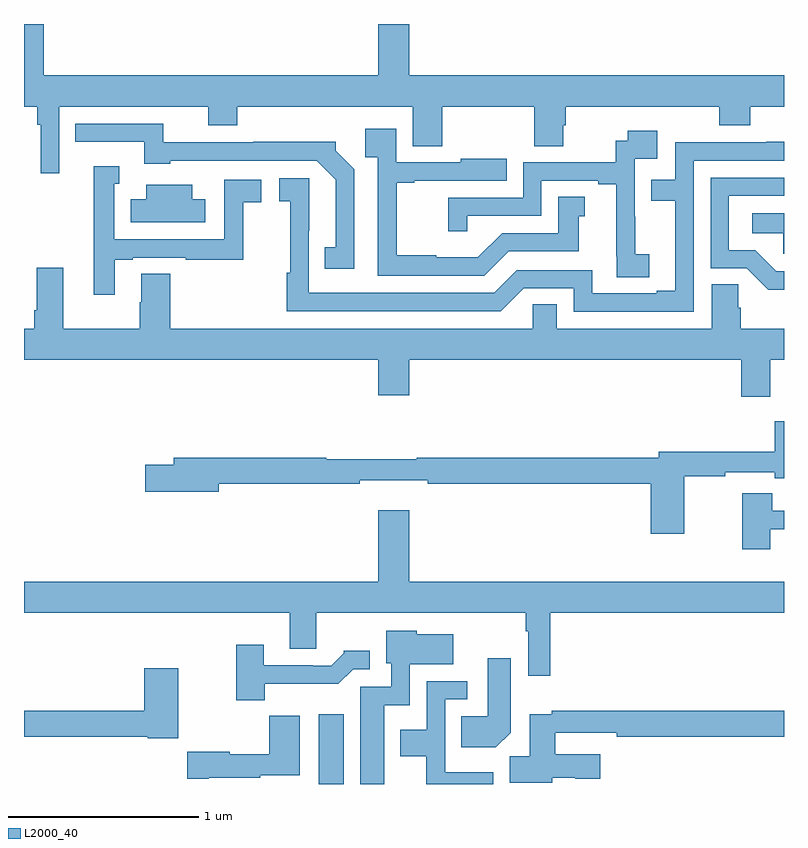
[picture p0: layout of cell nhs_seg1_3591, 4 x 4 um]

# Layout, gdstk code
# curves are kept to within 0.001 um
import gdstk
lib = gdstk.Library(unit=1e-6, precision=1e-09)
def R(c, l, rs):  # rectangles x0, y0, x1, y1
    for r in rs: c.add(gdstk.rectangle(r[:2], r[2:], *l))
def P(c, l, *ps):  # polygons
    for p in ps: c.add(gdstk.Polygon(p, *l))
L2000_40 = (2000, 40)

nhs_seg1_3591 = lib.new_cell('nhs_seg1_3591')
R(nhs_seg1_3591, L2000_40, [(308.552,516.199,308.683,516.565)])
P(nhs_seg1_3591, L2000_40, [(307.185,519.764),(307.97,519.764),(307.97,519.665),(308.123,519.665),(308.123,519.764),(309.047,519.764),(309.047,519.556),(309.2,519.556),(309.2,519.764),(309.686,519.764),(309.686,519.556),(309.838,519.556),(309.838,519.666),(309.851,519.666),(309.851,519.764),(310.658,519.764),(310.658,519.665),(310.823,519.665),(310.823,519.764),(311,519.764),(311,519.928),(309.028,519.928),(309.028,520.199),(308.864,520.199),(308.864,519.928),(307.105,519.928),(307.105,520.199),(307,520.199),(307,519.764),(307.069,519.764),(307.069,519.668),(307.088,519.668),(307.088,519.414),(307.185,519.414)],
  [(308.739,519.434),(308.64,519.533),(308.64,519.578),(308.206,519.578),(308.206,519.576),(307.734,519.576),(307.734,519.675),(307.27,519.675),(307.27,519.579),(307.634,519.579),(307.634,519.464),(307.77,519.464),(307.77,519.48),(308.541,519.48),(308.642,519.379),(308.642,519.023),(308.584,519.023),(308.584,518.91),(308.739,518.91)],
  [(309.552,519.003),(309.919,519.003),(309.919,519.187),(309.952,519.187),(309.952,519.29),(309.812,519.29),(309.812,519.099),(309.516,519.099),(309.388,518.971),(309.17,518.971),(309.17,518.983),(308.963,518.983),(308.963,519.363),(309.055,519.363),(309.055,519.375),(309.542,519.375),(309.542,519.49),(309.299,519.49),(309.299,519.471),(308.958,519.471),(308.958,519.649),(308.797,519.649),(308.797,519.497),(308.862,519.497),(308.862,518.874),(309.423,518.874)],
  [(310.291,518.988),(310.217,518.988),(310.217,519.185),(310.215,519.185),(310.215,519.489),(310.333,519.489),(310.333,519.637),(310.177,519.637),(310.177,519.585),(310.114,519.585),(310.114,519.471),(309.627,519.471),(309.627,519.285),(309.232,519.285),(309.232,519.108),(309.333,519.108),(309.333,519.189),(309.723,519.189),(309.723,519.375),(310.022,519.375),(310.022,519.355),(310.118,519.355),(310.118,518.977),(310.12,518.977),(310.12,518.866),(310.291,518.866)],
  [(310.524,519.48),(311,519.48),(311,519.578),(310.906,519.578),(310.906,519.576),(310.428,519.576),(310.428,519.378),(310.3,519.378),(310.3,519.27),(310.427,519.27),(310.427,518.796),(310.331,518.796),(310.331,518.781),(309.99,518.781),(309.99,518.904),(309.594,518.904),(309.474,518.784),(308.499,518.784),(308.5,519.388),(308.343,519.388),(308.343,519.267),(308.401,519.267),(308.401,518.891),(308.383,518.891),(308.383,518.688),(309.51,518.688),(309.63,518.808),(309.894,518.808),(309.894,518.685),(310.524,518.685)],
  [(307.477,518.958),(307.573,518.958),(307.573,518.97),(307.852,518.97),(307.852,518.958),(308.154,518.958),(308.154,519.262),(308.248,519.262),(308.248,519.378),(308.055,519.378),(308.055,519.066),(307.476,519.066),(307.476,519.357),(307.501,519.357),(307.501,519.451),(307.368,519.451),(307.368,519.019),(307.367,519.019),(307.367,518.775),(307.477,518.775)],
  [(311,518.898),(310.959,518.898),(310.848,519.009),(310.71,519.009),(310.71,519.294),(311,519.294),(311,519.39),(310.614,519.39),(310.614,518.913),(310.803,518.913),(310.916,518.801),(311,518.801)],
  [(307.954,519.277),(307.885,519.277),(307.885,519.352),(307.643,519.352),(307.643,519.277),(307.561,519.277),(307.561,519.155),(307.954,519.155)],
  [(311,519.202),(310.833,519.202),(310.833,519.098),(310.995,519.098),(310.995,518.991),(311,518.991)],
  [(310.927,518.432),(311,518.432),(311,518.596),(310.772,518.596),(310.772,518.705),(310.758,518.705),(310.758,518.828),(310.619,518.828),(310.619,518.596),(309.805,518.596),(309.805,518.723),(309.678,518.723),(309.678,518.596),(307.769,518.596),(307.769,518.885),(307.616,518.885),(307.616,518.735),(307.609,518.735),(307.609,518.596),(307.207,518.596),(307.207,518.917),(307.067,518.917),(307.067,518.692),(307.055,518.692),(307.055,518.596),(307,518.596),(307,518.432),(308.864,518.432),(308.864,518.244),(309.028,518.244),(309.028,518.432),(310.775,518.432),(310.775,518.238),(310.927,518.238)],
  [(310.476,517.819),(310.691,517.819),(310.691,517.839),(310.952,517.839),(310.952,517.808),(311,517.808),(311,518.107),(310.952,518.107),(310.952,517.948),(310.34,517.948),(310.34,517.916),(309.068,517.916),(309.068,517.909),(308.591,517.909),(308.591,517.916),(307.787,517.916),(307.787,517.88),(307.638,517.88),(307.638,517.738),(308.026,517.738),(308.026,517.78),(308.768,517.78),(308.768,517.799),(309.124,517.799),(309.124,517.78),(310.298,517.78),(310.298,517.515),(310.476,517.515)],
  [(310.927,517.539),(311,517.539),(311,517.636),(310.939,517.636),(310.939,517.729),(310.78,517.729),(310.78,517.434),(310.927,517.434)],
  [(309.77,517.1),(311,517.1),(311,517.264),(309.028,517.264),(309.028,517.639),(308.864,517.639),(308.864,517.264),(307,517.264),(307,517.1),(308.399,517.1),(308.399,516.91),(308.539,516.91),(308.539,517.1),(309.642,517.1),(309.642,517.004),(309.654,517.004),(309.654,516.768),(309.77,516.768)],
  [(308.896,516.614),(309.03,516.614),(309.03,516.83),(309.259,516.83),(309.259,516.988),(309.066,516.988),(309.066,517.006),(308.906,517.006),(308.906,516.834),(308.934,516.834),(308.934,516.711),(308.771,516.711),(308.771,516.199),(308.896,516.199)],
  [(308.266,516.726),(308.655,516.726),(308.733,516.804),(308.821,516.804),(308.821,516.901),(308.682,516.901),(308.682,516.886),(308.618,516.822),(308.519,516.822),(308.519,516.825),(308.263,516.825),(308.263,516.931),(308.116,516.931),(308.116,516.641),(308.266,516.641)],
  [(309.562,516.47),(309.562,516.862),(309.44,516.862),(309.44,516.556),(309.301,516.556),(309.301,516.392),(309.484,516.392)],
  [(307.812,516.808),(307.634,516.808),(307.634,516.584),(307,516.584),(307,516.448),(307.65,516.448),(307.65,516.44),(307.812,516.44)],
  [(309.469,516.262),(309.216,516.262),(309.216,516.645),(309.334,516.645),(309.334,516.741),(309.12,516.741),(309.12,516.484),(308.981,516.484),(308.981,516.344),(309.118,516.344),(309.118,516.199),(309.469,516.199)],
  [(309.78,516.233),(309.9,516.233),(309.9,516.226),(310.033,516.226),(310.033,516.355),(309.797,516.355),(309.797,516.468),(310.12,516.468),(310.12,516.448),(311,516.448),(311,516.584),(309.778,516.584),(309.778,516.566),(309.662,516.566),(309.662,516.344),(309.557,516.344),(309.557,516.206),(309.78,516.206)],
  [(307.972,516.233),(308.244,516.233),(308.244,516.245),(308.452,516.245),(308.452,516.559),(308.29,516.559),(308.29,516.355),(308.082,516.355),(308.082,516.368),(307.86,516.368),(307.86,516.226),(307.972,516.226)])

lib.write_gds('nhs_seg1_3591.gds')
